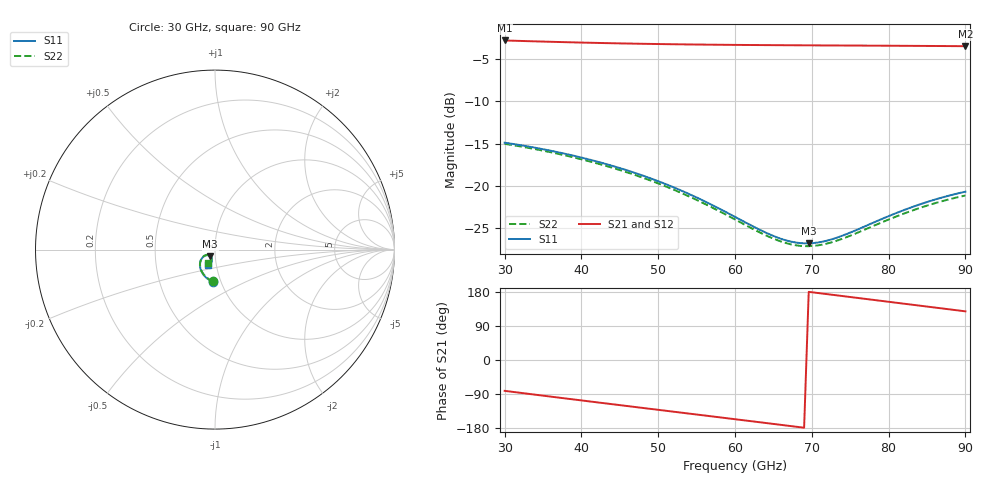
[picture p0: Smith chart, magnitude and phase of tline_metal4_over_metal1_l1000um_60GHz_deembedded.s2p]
! Created with skrf 2.0.1 (http://scikit-rf.org).
# GHz S DB R 50.0
!freq dBS11 angS11 dBS21 angS21 dBS12 angS12 dBS22 angS22
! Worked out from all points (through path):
!   101 points, 30 GHz to 90 GHz, reference 50 ohm
!   highest |S21| = -2.75 dB at 30 GHz (marker M1); lowest = -3.4 dB at 90 GHz (marker M2)
!   group delay of S21, straight-line fit = 6.93 ps
!   lowest |S11| = -26.9 dB at 69.6 GHz (marker M3), VSWR 1.10, Z = 47.3 - j3.52 ohm
!   |S11| at or under -10 dB: start of sweep to end of sweep
!   |S22| runs from -27.2 to -15.0 dB; largest |S21 - S12| = 3.7e-16
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30  -14.89 -92.8  -2.75 -81.4  -2.75 -81.4  -15.03 -93.2
32.4  -15.24 -99.6  -2.82 -87.5  -2.82 -87.5  -15.39 -100.1
34.8  -15.63 -106.2  -2.88 -93.6  -2.88 -93.6  -15.81 -106.7
37.2  -16.08 -112.4  -2.94 -99.6  -2.94 -99.6  -16.26 -113.1
40.2  -16.71 -119.9  -3.00 -107.1  -3.00 -107.1  -16.91 -120.7
45  -17.91 -130.8  -3.10 -119.1  -3.10 -119.1  -18.15 -131.8
47.4  -18.62 -135.7  -3.14 -125.0  -3.14 -125.0  -18.87 -136.8
50.4  -19.61 -141.0  -3.18 -132.5  -3.18 -132.5  -19.88 -142.3
55.2  -21.49 -147.0  -3.24 -144.3  -3.24 -144.3  -21.78 -148.6
57.6  -22.56 -148.4  -3.26 -150.3  -3.26 -150.3  -22.87 -150.1
60  -23.71 -148.2  -3.28 -156.3  -3.28 -156.3  -24.02 -150.1
63.6  -25.40 -143.8  -3.30 -165.2  -3.30 -165.2  -25.72 -145.9
66  -26.32 -137.7  -3.31 -171.2  -3.31 -171.2  -26.64 -140.0
67.8  -26.74 -131.7  -3.32 -175.7  -3.32 -175.7  -27.06 -134.2
69.6  -26.85 -125.1  -3.33 179.8  -3.33 179.8  -27.19 -127.8
70.2  -26.82 -123.0  -3.33 178.3  -3.33 178.3  -27.16 -125.7
72  -26.53 -116.9  -3.34 173.8  -3.34 173.8  -26.87 -119.9
73.8  -26.00 -112.1  -3.35 169.3  -3.35 169.3  -26.36 -115.2
76.8  -24.88 -107.1  -3.36 161.7  -3.36 161.7  -25.26 -110.4
80.4  -23.47 -105.5  -3.38 152.6  -3.38 152.6  -23.88 -109.1
85.2  -21.89 -108.2  -3.40 140.5  -3.40 140.5  -22.32 -112.1
90  -20.72 -114.0  -3.43 128.4  -3.43 128.4  -21.17 -118.3
